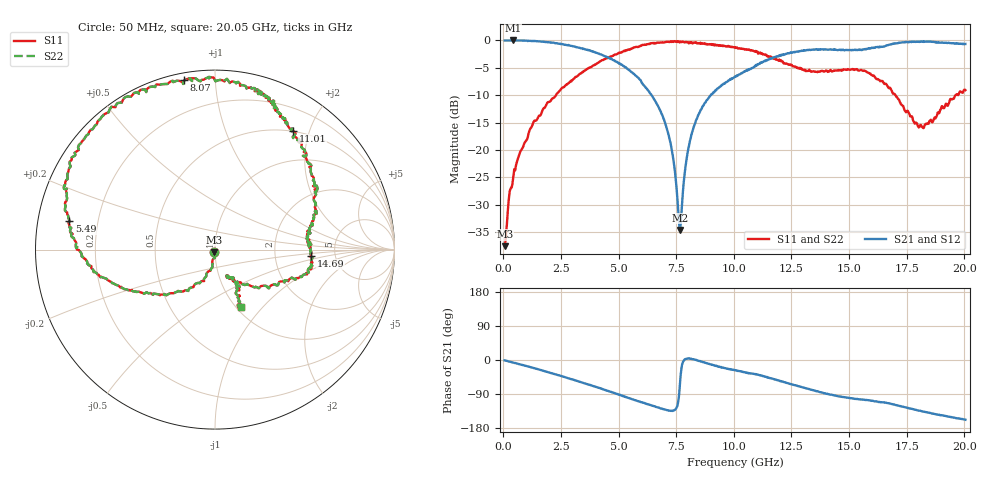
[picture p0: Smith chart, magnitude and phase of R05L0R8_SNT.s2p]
! P/N: 250R05L0R8BV4
! Measured by Marlon
! Oct. 29, 2003
#	mhz	s	ma	r	50
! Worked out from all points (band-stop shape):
!   1001 points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, 50 MHz to 20.05 GHz, reference 50 ohm
!   highest |S21| = 0.00 dB at 410 MHz (marker M1); lowest = -34.6 dB at 7.65 GHz (marker M2)
!   |S21| within 3 dB of the highest: start of sweep to 4.475 GHz; 11.84 GHz to end of sweep
!   lowest |S11| = -37.5 dB at 70 MHz (marker M3), VSWR 1.03, Z = 49.7 - j1.29 ohm
!   |S11| at or under -10 dB: start of sweep to 2.278 GHz; 17.02 GHz to 19.62 GHz (2.604 GHz wide, 14.2 % of centre)
!   |S22| runs from -37.5 to -0.1 dB; largest |S21 - S12| = 0
!   S11 on the Smith chart (normalised r, x): 50 MHz: 0.99, -0.03; 5.49 GHz: 0.10, +0.10; 8.07 GHz: 0.04, +0.83; 11.01 GHz: 0.49, +1.75; 14.69 GHz: 3.26, -0.32; 20.05 GHz: 1.05, -0.77
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50  0.01335 -106.3  0.999 -1.0  0.999 -1.0  0.01335 -106.3
70  0.01327 -102.5  1 -1.0  1 -1.0  0.01327 -102.5
250  0.03839 -94.7  0.999 -4.3  0.999 -4.3  0.03839 -94.7
410  0.05296 -100.5  1 -6.8  1 -6.8  0.05296 -100.5
1270  0.1726 -110.4  0.9882 -20.5  0.9882 -20.5  0.1726 -110.4
3390  0.5054 -152.5  0.8479 -58.7  0.8479 -58.7  0.5054 -152.5
4430  0.6809 -169.5  0.7151 -79.6  0.7151 -79.6  0.6809 -169.5
5490  0.8261 168.9  0.5299 -101.4  0.5299 -101.4  0.8261 168.9
6730  0.9535 141.3  0.2468 -125.5  0.2468 -125.5  0.9535 141.3
7270  0.9697 125.1  0.1101 -134.5  0.1101 -134.5  0.9697 125.1
7650  0.9576 113.6  0.01864 -71.3  0.01864 -71.3  0.9576 113.6
8070  0.959 100.3  0.1147 4.3  0.1147 4.3  0.959 100.3
8730  0.9433 82.2  0.2675 -6.8  0.2675 -6.8  0.9433 82.2
10050  0.8707 67.9  0.4702 -26.6  0.4702 -26.6  0.8707 67.9
11010  0.7927 56.7  0.5983 -38.1  0.5983 -38.1  0.7927 56.7
12350  0.604 23.0  0.762 -61.3  0.762 -61.3  0.604 23.0
13390  0.5194 8.8  0.8229 -78.9  0.8229 -78.9  0.5194 8.8
14690  0.5346 -3.8  0.8188 -97.3  0.8188 -97.3  0.5346 -3.8
15670  0.5289 -15.2  0.8288 -105.0  0.8288 -105.0  0.5289 -15.2
16730  0.3675 -34.1  0.9134 -114.6  0.9134 -114.6  0.3675 -34.1
18130  0.1681 -65.5  0.9791 -135.0  0.9791 -135.0  0.1681 -65.5
20050  0.352 -65.7  0.9298 -157.6  0.9298 -157.6  0.352 -65.7
